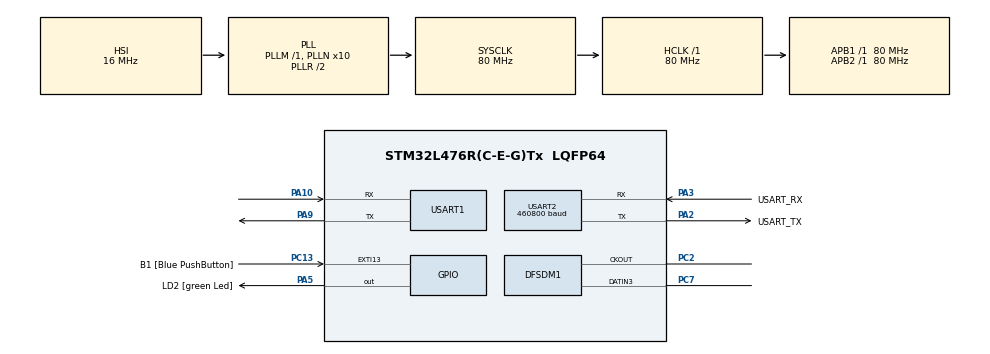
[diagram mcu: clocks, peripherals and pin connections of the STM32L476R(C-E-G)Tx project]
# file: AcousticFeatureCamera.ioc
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DFSDM1.Divider=64
DFSDM1.DmaMode_reg_FIL0=ENABLE
DFSDM1.FastMode_reg_FIL0=ENABLE
DFSDM1.Filter_regChannel_FIL0=DFSDM_CHANNEL_3
DFSDM1.Fosr_FIL0=64
DFSDM1.RightBitShift_CH3=0x1
DFSDM1.SincOrder_FIL0=DFSDM_FILTER_SINC4_ORDER
Dma.DFSDM1_FLT0.0.Direction=DMA_PERIPH_TO_MEMORY
Dma.DFSDM1_FLT0.0.Instance=DMA1_Channel4
Dma.DFSDM1_FLT0.0.MemDataAlignment=DMA_MDATAALIGN_WORD
Dma.DFSDM1_FLT0.0.MemInc=DMA_MINC_ENABLE
Dma.DFSDM1_FLT0.0.Mode=DMA_CIRCULAR
Dma.DFSDM1_FLT0.0.PeriphDataAlignment=DMA_PDATAALIGN_WORD
Dma.DFSDM1_FLT0.0.PeriphInc=DMA_PINC_DISABLE
Dma.DFSDM1_FLT0.0.Priority=DMA_PRIORITY_LOW
Dma.Request0=DFSDM1_FLT0
Dma.Request1=USART2_TX
Dma.USART2_TX.1.Direction=DMA_MEMORY_TO_PERIPH
Dma.USART2_TX.1.Instance=DMA1_Channel7
Dma.USART2_TX.1.MemDataAlignment=DMA_MDATAALIGN_BYTE
Dma.USART2_TX.1.MemInc=DMA_MINC_ENABLE
Dma.USART2_TX.1.Mode=DMA_NORMAL
Dma.USART2_TX.1.PeriphDataAlignment=DMA_PDATAALIGN_BYTE
Dma.USART2_TX.1.PeriphInc=DMA_PINC_DISABLE
Dma.USART2_TX.1.Priority=DMA_PRIORITY_LOW
Mcu.Family=STM32L4
Mcu.Name=STM32L476R(C-E-G)Tx
Mcu.Package=LQFP64
NVIC.DMA1_Channel4_IRQn=true\:0\:0\:false\:false\:true\:false\:true\:true
NVIC.DMA1_Channel7_IRQn=true\:0\:0\:false\:false\:true\:false\:true\:true
NVIC.PriorityGroup=NVIC_PRIORITYGROUP_4
NVIC.USART1_IRQn=true\:0\:0\:false\:false\:true\:true\:true\:true
NVIC.USART2_IRQn=true\:0\:0\:false\:false\:true\:true\:true\:true
PA10.Mode=Asynchronous
PA10.Signal=USART1_RX
PA13\ (JTMS-SWDIO).GPIO_Label=TMS
PA13\ (JTMS-SWDIO).Mode=Serial_Wire
PA13\ (JTMS-SWDIO).Signal=SYS_JTMS-SWDIO
PA14\ (JTCK-SWCLK).GPIO_Label=TCK
PA14\ (JTCK-SWCLK).Mode=Serial_Wire
PA14\ (JTCK-SWCLK).Signal=SYS_JTCK-SWCLK
PA2.GPIO_Label=USART_TX
PA2.GPIO_Mode=GPIO_MODE_AF_PP
PA2.GPIO_PuPd=GPIO_NOPULL
PA2.GPIO_Speed=GPIO_SPEED_FREQ_VERY_HIGH
PA2.Mode=Asynchronous
PA2.Signal=USART2_TX
PA3.GPIO_Label=USART_RX
PA3.GPIO_Mode=GPIO_MODE_AF_PP
PA3.GPIO_PuPd=GPIO_NOPULL
PA3.GPIO_Speed=GPIO_SPEED_FREQ_VERY_HIGH
PA3.Mode=Asynchronous
PA3.Signal=USART2_RX
PA5.GPIO_Label=LD2 [green Led]
PA5.GPIO_ModeDefaultOutputPP=GPIO_MODE_OUTPUT_PP
PA5.GPIO_PuPd=GPIO_NOPULL
PA5.GPIO_Speed=GPIO_SPEED_FREQ_LOW
PA5.Signal=GPIO_Output
PA9.Mode=Asynchronous
PA9.Signal=USART1_TX
PB3\ (JTDO-TRACESWO).GPIO_Label=SWO
PB3\ (JTDO-TRACESWO).Signal=SYS_JTDO-SWO
PC13.GPIO_Label=B1 [Blue PushButton]
PC13.GPIO_ModeDefaultEXTI=GPIO_MODE_IT_FALLING
PC13.GPIO_PuPd=GPIO_NOPULL
PC13.Signal=GPXTI13
PC14-OSC32_IN\ (PC14).Mode=LSE-External-Oscillator
PC14-OSC32_IN\ (PC14).Signal=RCC_OSC32_IN
PC15-OSC32_OUT\ (PC15).Mode=LSE-External-Oscillator
PC15-OSC32_OUT\ (PC15).Signal=RCC_OSC32_OUT
PC2.Signal=S_CKOUTDFSDM1
PC7.Signal=S_DATAIN3DFSDM1
PH0-OSC_IN\ (PH0).Signal=RCC_OSC_IN
PH1-OSC_OUT\ (PH1).Signal=RCC_OSC_OUT
ProjectManager.HeapSize=0x200
ProjectManager.StackSize=0x400
ProjectManager.TargetToolchain=STM32CubeIDE
RCC.ADCFreq_Value=64000000
RCC.AHBFreq_Value=80000000
RCC.APB1Freq_Value=80000000
RCC.APB1TimFreq_Value=80000000
RCC.APB2Freq_Value=80000000
RCC.APB2TimFreq_Value=80000000
RCC.CortexFreq_Value=80000000
RCC.HCLKFreq_Value=80000000
RCC.HSE_VALUE=8000000
RCC.HSI_VALUE=16000000
RCC.MSI_VALUE=4000000
RCC.PLLN=10
RCC.PLLSourceVirtual=RCC_PLLSOURCE_HSI
RCC.PREFETCH_ENABLE=1
RCC.SYSCLKFreq_VALUE=80000000
RCC.SYSCLKSource=RCC_SYSCLKSOURCE_PLLCLK
RCC.USBFreq_Value=64000000
RCC.VCOOutputFreq_Value=160000000
SH.S_CKOUTDFSDM1.0=DFSDM1_CKOUT,PDM_SPI_input_from_ch3_and_internal_clock
SH.S_DATAIN3DFSDM1.0=DFSDM1_DATIN3,PDM_SPI_input_from_ch3_and_internal_clock
USART1.VirtualMode-Asynchronous=VM_ASYNC
USART2.BaudRate=460800
USART2.VirtualMode-Asynchronous=VM_ASYNC
board=NUCLEO-L476RG

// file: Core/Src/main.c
/* USER CODE BEGIN Header */
/**
 ******************************************************************************
 * @file           : main.c
 * @brief          : Main program body
 ******************************************************************************
 * @attention
 *
 * Copyright (c) 2023 STMicroelectronics.
 * All rights reserved.
 *
 * This software is licensed under terms that can be found in the LICENSE file
 * in the root directory of this software component.
 * If no LICENSE file comes with this software, it is provided AS-IS.
 *
 ******************************************************************************
 */
/* USER CODE END Header */
#include "main.h"

/* USER CODE BEGIN Includes */
#include <stdio.h>
#include <stdbool.h>
#include "dsp.h"
/* USER CODE END Includes */

DFSDM_Filter_HandleTypeDef hdfsdm1_filter0;
DFSDM_Channel_HandleTypeDef hdfsdm1_channel3;
DMA_HandleTypeDef hdma_dfsdm1_flt0;

UART_HandleTypeDef huart1;
UART_HandleTypeDef huart2;
DMA_HandleTypeDef hdma_usart2_tx;

/* USER CODE BEGIN PV */

// N / 2
const int NN_HALF = NN / 2;

// N * 2
const int NN_DOUBLE = NN * 2;

// flag: "new PCM data has just been copied to buf"
volatile bool new_pcm_data_a = false;
volatile bool new_pcm_data_b = false;

// Output trigger
volatile bool uart_output = false;

// Eight-bit shift to fit 24bit PCM into 16bit PCM
volatile int pcm_bit_shift = 0;

// UART output mode
volatile mode output_mode = FEATURES;

// UART one-byte input buffer
uint8_t rxbuf[1];

// Pre-emphasis toggle
volatile bool pre_emphasis_enabled = true;

// Buffers
// Note: these variables are declared as "extern(al)".
int8_t mfsc_buffer[NUM_FILTERS * 200] = { 0.0f };
int8_t mfcc_buffer[NUM_FILTERS * 200] = { 0.0f };

int pos = 0;

// Debug
volatile debug debug_output = DISABLED;
uint32_t elapsed_time = 0;

/* USER CODE END PV */

void SystemClock_Config(void);
static void MX_GPIO_Init(void);
static void MX_DMA_Init(void);
static void MX_USART2_UART_Init(void);
static void MX_DFSDM1_Init(void);
static void MX_USART1_UART_Init(void);

/* USER CODE BEGIN 0 */
/*
 * Output raw wave or feature to UART by memory-to-peripheral DMA
 */
void uart_tx(float32_t *in, int8_t *f, mode mode, bool dma_start, bool reset) {

  int length = 0;
  static int idx = 0;

#if NUM_FILTERS * 2 > NN*2
  static char uart_buf[NUM_FILTERS * 2] = { 0 };
#else
  static char uart_buf[NN * 2] = { 0 };
#endif

  if (reset) {
    idx = 0;
  }

  switch (mode) {
  case RAW_WAVE:
    length = NN;
    break;

  case SFFT:
    length = NN / 2;
    break;

  case FEATURES:
    length = NUM_FILTERS * 2;
    break;

  default:
    break;
  }

  // Quantization: convert float into int
  if (mode == RAW_WAVE) {
    for (int n = 0; n < length; n++) {
      // fit 24bit PCM into 18bit PCM by right bit shift
      int32_t raw32 = (int32_t) in[n] >> pcm_bit_shift;
      int16_t raw16 = (int16_t) raw32;
      uart_buf[idx++] = (uint8_t) (raw16 >> 8);      // MSB
      uart_buf[idx++] = (uint8_t) (raw16 & 0x00ff);  // LSB
    }
  } else if (mode == FEATURES) {
    if (f != NULL) {
      memcpy(uart_buf + idx, f, NUM_FILTERS * 2);
      idx += NUM_FILTERS * 2;
    }
  } else {
    for (int n = 0; n < length; n++) {
      if (in[n] < -128.0f)
        in[n] = -128.0f;
      uart_buf[idx++] = (int8_t) in[n];
    }
  }

  // memory-to-peripheral DMA to UART
  if (dma_start) {
    HAL_UART_Transmit_DMA(&huart2, (uint8_t*) uart_buf, idx);
  }

}

/*
 * DSP pipeline
 */
void dsp(float32_t *s1, int8_t *f, mode mode) {

  uint32_t start = 0;
  uint32_t end = 0;

  start = HAL_GetTick();

#ifdef AC_COUPLING
  apply_ac_coupling(s1);  // remove DC
#endif

  if (mode >= SFFT) {
    // Pre-emphasis
    if (pre_emphasis_enabled) {
      apply_pre_emphasis(s1);
    }
    apply_hann(s1);
    apply_fft(s1);
    apply_psd(s1);
    if (mode < FEATURES) {
      apply_psd_logscale(s1);
    } else {
      apply_filterbank(s1);
      apply_filterbank_logscale(s1);
      for (int i = 0; i < NUM_FILTERS; i++) {
        mfsc_buffer[pos * NUM_FILTERS + i] = (int8_t) s1[i];
      }
      memcpy(f, mfsc_buffer + pos * NUM_FILTERS, NUM_FILTERS);
      apply_dct2(s1);
      for (int i = 0; i < NUM_FILTERS; i++) {
        mfcc_buffer[pos * NUM_FILTERS + i] = (int8_t) s1[i];
      }
      memcpy(f + NUM_FILTERS, mfcc_buffer + pos * NUM_FILTERS, NUM_FILTERS);
    }
  }
  if (++pos >= 200)
    pos = 0;

  end = HAL_GetTick();
  elapsed_time = end - start;
}

/*
 * Overlap dsp for spectrogram calculation
 *
 *
 * 26.3msec  stride 13.2msec  overlap 50%
 * --- overlap dsp -----------------------
 * [ 1 | 2 ]                       a(1/2)
 *     [ 2 | 3 ]                   a(2/2)
 * --- overlap dsp -----------------------
 *         [ 3 | 4 ]               b(1/2)
 *             [ 4 | 5 ]           b(2/2)
 * --- overlap dsp -----------------------
 *                 [ 5 | 6 ]       a(1/2)
 *                     [ 6 | 7 ]   a(2/2)
 * --- overlap dsp -----------------------
 *                         :
 */
void overlap_dsp(float32_t *buf, mode mode) {

  float32_t signal[NN] = { 0.0f };
  int8_t features[NUM_FILTERS * 2] = { 0U };

  /*---- (1/2) -----------------------------------*/
  arm_copy_f32(buf, signal, NN);
  dsp(signal, features, mode);  // (1/2)

  if (uart_output) {
    switch (mode) {
    case RAW_WAVE:
      uart_tx(signal, NULL, mode, true, true);
      break;
    case SFFT:
      uart_tx(signal, NULL, mode, false, true);
      break;
    default:
      uart_tx(signal, features, mode, false, true);
      break;
    }
  }

  /*---- (2/2) -----------------------------------*/
  arm_copy_f32(buf + NN_HALF, signal, NN);
  dsp(signal, features, mode);  // (2/2)

  if (uart_output) {
    switch (mode) {
    case RAW_WAVE:
      __NOP();
      break;
    case SFFT:
      uart_tx(signal, NULL, mode, true, false);
      break;
    default:
      uart_tx(signal, features, mode, true, false);
      break;
    }
  }

}

/*
 * Dump debug info
 */
void dump(void) {
  if (debug_output != DISABLED) {
    switch (debug_output) {
    case FILTERBANK:
      for (int m = 0; m < NUM_FILTERS + 2; m++) {
        printf("%d:%d,", k_range[m][0], k_range[m][1]);
        for (int n = 0; n < FILTER_LENGTH; n++) {
          printf("%.3f,", filterbank[m][n]);
        }
        printf("\n");
      }
      printf("e\n");
      break;
    case ELAPSED_TIME:
      printf("mode: %d, elapsed_time: %lu(msec)\n", (int)output_mode, elapsed_time);
      break;
    default:
      break;
    }
    debug_output = DISABLED;
  }
}

/* USER CODE END 0 */

int main(void)
{
  /* USER CODE BEGIN 1 */
// Audio sample rate and period
  float32_t f_s;

// DMA peripheral-to-memory double buffer
  int32_t input_buf[NN * 2] = { 0 };

// PCM data store for further processing (FFT etc)
  float32_t signal_buf[NN + NN / 2] = { 0.0f };  // NN/2 overlap

  /* USER CODE END 1 */

  /* MCU Configuration--------------------------------------------------------*/

  /* Reset of all peripherals, Initializes the Flash interface and the Systick. */
  HAL_Init();

  /* Configure the system clock */
  SystemClock_Config();

  /* Initialize all configured peripherals */
  MX_GPIO_Init();
  MX_DMA_Init();
  MX_USART2_UART_Init();
  MX_DFSDM1_Init();
  MX_USART1_UART_Init();
  /* USER CODE BEGIN 2 */

  f_s = SystemCoreClock / hdfsdm1_channel3.Init.OutputClock.Divider
      / hdfsdm1_filter0.Init.FilterParam.Oversampling
      / hdfsdm1_filter0.Init.FilterParam.IntOversampling;

// DSP initialization
  init_dsp(f_s);

  if (HAL_DFSDM_FilterRegularStart_DMA(&hdfsdm1_filter0, input_buf, NN * 2)
      != HAL_OK) {
    Error_Handler();
  }

// Enable UART receive interrupt to receive a command
// from an application processor
  HAL_UART_Receive_IT(&huart2, rxbuf, 1);

  /* USER CODE END 2 */

  /* Infinite loop */
  /* USER CODE BEGIN WHILE */
  while (1) {
    // Wait for next PCM samples from M1
    if (new_pcm_data_a) {  // 1st half of the buffer

      // Overlap
      arm_copy_f32(signal_buf + NN, signal_buf, NN_HALF);

      // Bit shift to obtain 16-bit PCM
      for (uint32_t n = 0; n < NN; n++) {
        signal_buf[n + NN_HALF] = (float32_t) (input_buf[n]
            >> REGISTER_BIT_SHIFT);
      }

      // Overlap dsp
      overlap_dsp(signal_buf, output_mode);

      new_pcm_data_a = false;

    }

    if (new_pcm_data_b) {  // 2nd half of the buffer

      // Overlap
      arm_copy_f32(signal_buf + NN, signal_buf, NN_HALF);

      // Bit shift to obtain 16-bit PCM
      for (uint32_t n = 0; n < NN; n++) {
        signal_buf[n + NN_HALF] = (float32_t) (input_buf[NN + n]
            >> REGISTER_BIT_SHIFT);
      }

      // Overlap dsp
      overlap_dsp(signal_buf, output_mode);

      new_pcm_data_b = false;
    }

    // Dump debug info
    dump();

    /* USER CODE END WHILE */

  }
}

void SystemClock_Config(void)
{
  RCC_OscInitTypeDef RCC_OscInitStruct = {0};
  RCC_ClkInitTypeDef RCC_ClkInitStruct = {0};

  /** Configure the main internal regulator output voltage
  */
  if (HAL_PWREx_ControlVoltageScaling(PWR_REGULATOR_VOLTAGE_SCALE1) != HAL_OK)
  {
    Error_Handler();
  }

  /** Initializes the RCC Oscillators according to the specified parameters
  * in the RCC_OscInitTypeDef structure.
  */
  RCC_OscInitStruct.OscillatorType = RCC_OSCILLATORTYPE_HSI;
  RCC_OscInitStruct.HSIState = RCC_HSI_ON;
  RCC_OscInitStruct.HSICalibrationValue = RCC_HSICALIBRATION_DEFAULT;
  RCC_OscInitStruct.PLL.PLLState = RCC_PLL_ON;
  RCC_OscInitStruct.PLL.PLLSource = RCC_PLLSOURCE_HSI;
  RCC_OscInitStruct.PLL.PLLM = 1;
  RCC_OscInitStruct.PLL.PLLN = 10;
  RCC_OscInitStruct.PLL.PLLP = RCC_PLLP_DIV7;
  RCC_OscInitStruct.PLL.PLLQ = RCC_PLLQ_DIV2;
  RCC_OscInitStruct.PLL.PLLR = RCC_PLLR_DIV2;
  if (HAL_RCC_OscConfig(&RCC_OscInitStruct) != HAL_OK)
  {
    Error_Handler();
  }

  /** Initializes the CPU, AHB and APB buses clocks
  */
  RCC_ClkInitStruct.ClockType = RCC_CLOCKTYPE_HCLK|RCC_CLOCKTYPE_SYSCLK
                              |RCC_CLOCKTYPE_PCLK1|RCC_CLOCKTYPE_PCLK2;
  RCC_ClkInitStruct.SYSCLKSource = RCC_SYSCLKSOURCE_PLLCLK;
  RCC_ClkInitStruct.AHBCLKDivider = RCC_SYSCLK_DIV1;
  RCC_ClkInitStruct.APB1CLKDivider = RCC_HCLK_DIV1;
  RCC_ClkInitStruct.APB2CLKDivider = RCC_HCLK_DIV1;

  if (HAL_RCC_ClockConfig(&RCC_ClkInitStruct, FLASH_LATENCY_4) != HAL_OK)
  {
    Error_Handler();
  }
}

static void MX_DFSDM1_Init(void)
{

  hdfsdm1_filter0.Instance = DFSDM1_Filter0;
  hdfsdm1_filter0.Init.RegularParam.Trigger = DFSDM_FILTER_SW_TRIGGER;
  hdfsdm1_filter0.Init.RegularParam.FastMode = ENABLE;
  hdfsdm1_filter0.Init.RegularParam.DmaMode = ENABLE;
  hdfsdm1_filter0.Init.FilterParam.SincOrder = DFSDM_FILTER_SINC4_ORDER;
  hdfsdm1_filter0.Init.FilterParam.Oversampling = 64;
  hdfsdm1_filter0.Init.FilterParam.IntOversampling = 1;
  if (HAL_DFSDM_FilterInit(&hdfsdm1_filter0) != HAL_OK)
  {
    Error_Handler();
  }
  hdfsdm1_channel3.Instance = DFSDM1_Channel3;
  hdfsdm1_channel3.Init.OutputClock.Activation = ENABLE;
  hdfsdm1_channel3.Init.OutputClock.Selection = DFSDM_CHANNEL_OUTPUT_CLOCK_SYSTEM;
  hdfsdm1_channel3.Init.OutputClock.Divider = 64;
  hdfsdm1_channel3.Init.Input.Multiplexer = DFSDM_CHANNEL_EXTERNAL_INPUTS;
  hdfsdm1_channel3.Init.Input.DataPacking = DFSDM_CHANNEL_STANDARD_MODE;
  hdfsdm1_channel3.Init.Input.Pins = DFSDM_CHANNEL_SAME_CHANNEL_PINS;
  hdfsdm1_channel3.Init.SerialInterface.Type = DFSDM_CHANNEL_SPI_RISING;
  hdfsdm1_channel3.Init.SerialInterface.SpiClock = DFSDM_CHANNEL_SPI_CLOCK_INTERNAL;
  hdfsdm1_channel3.Init.Awd.FilterOrder = DFSDM_CHANNEL_FASTSINC_ORDER;
  hdfsdm1_channel3.Init.Awd.Oversampling = 1;
  hdfsdm1_channel3.Init.Offset = 0;
  hdfsdm1_channel3.Init.RightBitShift = 0x1;
  if (HAL_DFSDM_ChannelInit(&hdfsdm1_channel3) != HAL_OK)
  {
    Error_Handler();
  }
  if (HAL_DFSDM_FilterConfigRegChannel(&hdfsdm1_filter0, DFSDM_CHANNEL_3, DFSDM_CONTINUOUS_CONV_ON) != HAL_OK)
  {
    Error_Handler();
  }

}

static void MX_USART1_UART_Init(void)
{

  huart1.Instance = USART1;
  huart1.Init.BaudRate = 115200;
  huart1.Init.WordLength = UART_WORDLENGTH_8B;
  huart1.Init.StopBits = UART_STOPBITS_1;
  huart1.Init.Parity = UART_PARITY_NONE;
  huart1.Init.Mode = UART_MODE_TX_RX;
  huart1.Init.HwFlowCtl = UART_HWCONTROL_NONE;
  huart1.Init.OverSampling = UART_OVERSAMPLING_16;
  huart1.Init.OneBitSampling = UART_ONE_BIT_SAMPLE_DISABLE;
  huart1.AdvancedInit.AdvFeatureInit = UART_ADVFEATURE_NO_INIT;
  if (HAL_UART_Init(&huart1) != HAL_OK)
  {
    Error_Handler();
  }

}

static void MX_USART2_UART_Init(void)
{

  huart2.Instance = USART2;
  huart2.Init.BaudRate = 460800;
  huart2.Init.WordLength = UART_WORDLENGTH_8B;
  huart2.Init.StopBits = UART_STOPBITS_1;
  huart2.Init.Parity = UART_PARITY_NONE;
  huart2.Init.Mode = UART_MODE_TX_RX;
  huart2.Init.HwFlowCtl = UART_HWCONTROL_NONE;
  huart2.Init.OverSampling = UART_OVERSAMPLING_16;
  huart2.Init.OneBitSampling = UART_ONE_BIT_SAMPLE_DISABLE;
  huart2.AdvancedInit.AdvFeatureInit = UART_ADVFEATURE_NO_INIT;
  if (HAL_UART_Init(&huart2) != HAL_OK)
  {
    Error_Handler();
  }

}

static void MX_DMA_Init(void)
{

  /* DMA controller clock enable */
  __HAL_RCC_DMA1_CLK_ENABLE();

  /* DMA interrupt init */
  /* DMA1_Channel4_IRQn interrupt configuration */
  HAL_NVIC_SetPriority(DMA1_Channel4_IRQn, 0, 0);
  HAL_NVIC_EnableIRQ(DMA1_Channel4_IRQn);
  /* DMA1_Channel7_IRQn interrupt configuration */
  HAL_NVIC_SetPriority(DMA1_Channel7_IRQn, 0, 0);
  HAL_NVIC_EnableIRQ(DMA1_Channel7_IRQn);

}

static void MX_GPIO_Init(void)
{
  GPIO_InitTypeDef GPIO_InitStruct = {0};

  /* GPIO Ports Clock Enable */
  __HAL_RCC_GPIOC_CLK_ENABLE();
  __HAL_RCC_GPIOH_CLK_ENABLE();
  __HAL_RCC_GPIOA_CLK_ENABLE();
  __HAL_RCC_GPIOB_CLK_ENABLE();

  /*Configure GPIO pin Output Level */
  HAL_GPIO_WritePin(LD2_GPIO_Port, LD2_Pin, GPIO_PIN_RESET);

  /*Configure GPIO pin : B1_Pin */
  GPIO_InitStruct.Pin = B1_Pin;
  GPIO_InitStruct.Mode = GPIO_MODE_IT_FALLING;
  GPIO_InitStruct.Pull = GPIO_NOPULL;
  HAL_GPIO_Init(B1_GPIO_Port, &GPIO_InitStruct);

  /*Configure GPIO pin : LD2_Pin */
  GPIO_InitStruct.Pin = LD2_Pin;
  GPIO_InitStruct.Mode = GPIO_MODE_OUTPUT_PP;
  GPIO_InitStruct.Pull = GPIO_NOPULL;
  GPIO_InitStruct.Speed = GPIO_SPEED_FREQ_LOW;
  HAL_GPIO_Init(LD2_GPIO_Port, &GPIO_InitStruct);

}

/* USER CODE BEGIN 4 */
/**
 * @brief  Half regular conversion complete callback.
 * @param  hdfsdm_filter DFSDM filter handle.
 * @retval None
 */
void HAL_DFSDM_FilterRegConvHalfCpltCallback(
    DFSDM_Filter_HandleTypeDef *hdfsdm_filter) {
  if (!new_pcm_data_a && (hdfsdm_filter == &hdfsdm1_filter0)) {
    new_pcm_data_a = true;  // ready for 1st half of the buffer
  }
}

/**
 * @brief  Regular conversion complete callback.
 * @note   In interrupt mode, user has to read conversion value in this function
 using HAL_DFSDM_FilterGetRegularValue.
 * @param  hdfsdm_filter : DFSDM filter handle.
 * @retval None
 */
void HAL_DFSDM_FilterRegConvCpltCallback(
    DFSDM_Filter_HandleTypeDef *hdfsdm_filter) {
  if (!new_pcm_data_b && (hdfsdm_filter == &hdfsdm1_filter0)) {
    new_pcm_data_b = true;  // ready for 2nd half of the buffer
  }
}

/**
 * @brief  Retargets the C library printf function to the USART.
 * @param  None
 * @retval None
 */
int _write(int file, char *ptr, int len) {
  HAL_UART_Transmit(&huart2, (uint8_t*) ptr, (uint16_t) len, 0xFFFFFFFF);
  return len;
}

//  (This func is commented out: for a debug purpose only)
void HAL_GPIO_EXTI_Callback(uint16_t GPIO_Pin) {
  if (GPIO_Pin == GPIO_PIN_13) {  // User button (blue tactile switch)
    //
  }
}

/*
 * One-byte command reception from an application processor
 */
void HAL_UART_RxCpltCallback(UART_HandleTypeDef *huart) {
  char cmd;

  cmd = rxbuf[0];

  switch (cmd) {

// Pre-emphasis
  case 'r':
    output_mode = RAW_WAVE;
    break;
  case 's':
    output_mode = SFFT;
    break;
  case 'f':
    output_mode = FEATURES;
    break;
  case 'p':
    pre_emphasis_enabled = true;
    break;
  case 'P':
    pre_emphasis_enabled = false;
    break;
  case 'o':  // TX On
    uart_output = true;
    break;
  case 'O':  // Tx off
    uart_output = false;
  case 'F':
    debug_output = FILTERBANK;
    break;
  case 't':
    debug_output = ELAPSED_TIME;
    break;
  default:
    if (cmd >= 0x30 && cmd <= 0x38) {
      pcm_bit_shift = (int) (cmd - 0x30);
    }
    break;
  }

  HAL_UART_Receive_IT(&huart2, rxbuf, 1);
}
/* USER CODE END 4 */

void Error_Handler(void)
{
  __disable_irq();
  while (1) {
  }
}
